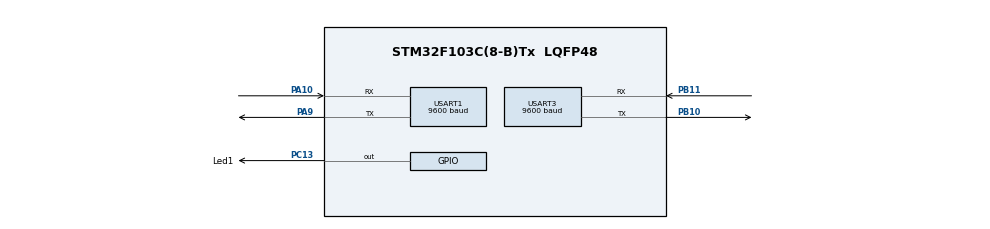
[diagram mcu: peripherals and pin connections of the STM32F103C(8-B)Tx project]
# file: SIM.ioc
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Mcu.Family=STM32F1
Mcu.Name=STM32F103C(8-B)Tx
Mcu.Package=LQFP48
NVIC.PriorityGroup=NVIC_PRIORITYGROUP_4
NVIC.USART1_IRQn=true\:0\:0\:false\:false\:true\:true
NVIC.USART3_IRQn=true\:0\:0\:false\:false\:true\:true
PA10.Mode=Asynchronous
PA10.Signal=USART1_RX
PA13.Mode=Serial_Wire
PA13.Signal=SYS_JTMS-SWDIO
PA14.Mode=Serial_Wire
PA14.Signal=SYS_JTCK-SWCLK
PA9.Mode=Asynchronous
PA9.Signal=USART1_TX
PB10.Mode=Asynchronous
PB10.Signal=USART3_TX
PB11.Mode=Asynchronous
PB11.Signal=USART3_RX
PC13-TAMPER-RTC.GPIO_Label=Led1
PC13-TAMPER-RTC.GPIO_Speed=GPIO_SPEED_FREQ_MEDIUM
PC13-TAMPER-RTC.PinState=GPIO_PIN_SET
PC13-TAMPER-RTC.Signal=GPIO_Output
ProjectManager.HeapSize=0x200
ProjectManager.StackSize=0x400
ProjectManager.TargetToolchain=MDK-ARM V5
RCC.APB1Freq_Value=8000000
RCC.APB2Freq_Value=8000000
USART1.BaudRate=9600
USART1.VirtualMode=VM_ASYNC
USART3.BaudRate=9600
USART3.VirtualMode=VM_ASYNC
board=SIM

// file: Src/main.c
#include "main.h"
#include "stm32f1xx_hal.h"
#include <stdio.h>
#include <stdlib.h>
#include <string.h>
/* USER CODE BEGIN Includes */
#include "sim800c.h"
/* USER CODE END Includes */

UART_HandleTypeDef huart1;
UART_HandleTypeDef huart3;

/* USER CODE BEGIN PV */
/* Private variables ---------------------------------------------------------*/
#define true 1
#define false 0
#define bool int
	int i, n=10;
int *a;
/* USER CODE END PV */

void SystemClock_Config(void);
static void MX_GPIO_Init(void);
static void MX_USART1_UART_Init(void);
static void MX_USART3_UART_Init(void);

/* USER CODE BEGIN PFP */
/* Private function prototypes -----------------------------------------------*/

/* USER CODE END PFP */

/* USER CODE BEGIN 0 */

extern struct UARTSim_t UARTSim;
/* USER CODE END 0 */

int main(void)
{
	 // a = (int*)calloc(n, sizeof(int));
  /* MCU Configuration----------------------------------------------------------*/

  /* Reset of all peripherals, Initializes the Flash interface and the Systick. */
  HAL_Init();

  /* Configure the system clock */
  SystemClock_Config();

  /* Initialize all configured peripherals */
  MX_GPIO_Init();
  MX_USART1_UART_Init();
  MX_USART3_UART_Init();
  /* USER CODE BEGIN 2 */
	HAL_UART_Receive_IT(&huart3, (uint8_t*)&UARTSim.Rx_data, 1);
	HAL_Delay(5000);
	 printf("Lan1\r\n");
	 a = (int*)calloc(10, sizeof(int));
	 for(int i = 0; i<10; i++) printf("%d",a[i]);
	 HAL_Delay(5000);
	 free(a);
	 //HAL_Delay(5000);
	//a = NULL;
	HAL_Delay(5000);
	 printf("Lan2\r\n");
	 a = (int*)calloc(10, sizeof(int));
	 for(int i = 0; i<10; i++) printf("%d",a[i]);
	// for(int i = 0; i<10; i++) printf("%d\r\n",a[i]);
//	printf("Bat Dau\r\n");
//	SIM_begin();
//	//SIM_deleteMessage();
//	//SIM_checkAccount();
//			if(SIM_connectGPRS()){
//			printf("Conected\r\n");
//		}
//			else{
//			printf("Fail\r\n");
//			}
//			//HAL_Delay(5000);
////			if(SIM_initHTTP()){
////			SIM_getHTTP("1603.61665xNx10814.32328xE",10,7,18,22,12,59,20,30,40,50,60,90,90);
////			}
////			else{
////			printf("Fail\r\n");
////			}
//		SIM_SendFTP();
//		HAL_Delay(5000);
//			SIM_FinishFTP();
//		if(SIM_disconnectGPRS()){
//			printf("Disconnected\r\n");
//		}
//			else{
//			printf("Fail\r\n");
//			}
  /* USER CODE END 2 */
  /* Infinite loop */
  while (1)
  {
//		 SIM_GetSMS();
//		HAL_Delay(1000);
  }

}

void SystemClock_Config(void)
{

  RCC_OscInitTypeDef RCC_OscInitStruct;
  RCC_ClkInitTypeDef RCC_ClkInitStruct;

    /**Initializes the CPU, AHB and APB busses clocks
    */
  RCC_OscInitStruct.OscillatorType = RCC_OSCILLATORTYPE_HSI;
  RCC_OscInitStruct.HSIState = RCC_HSI_ON;
  RCC_OscInitStruct.HSICalibrationValue = 16;
  RCC_OscInitStruct.PLL.PLLState = RCC_PLL_NONE;
  if (HAL_RCC_OscConfig(&RCC_OscInitStruct) != HAL_OK)
  {
    _Error_Handler(__FILE__, __LINE__);
  }

    /**Initializes the CPU, AHB and APB busses clocks
    */
  RCC_ClkInitStruct.ClockType = RCC_CLOCKTYPE_HCLK|RCC_CLOCKTYPE_SYSCLK
                              |RCC_CLOCKTYPE_PCLK1|RCC_CLOCKTYPE_PCLK2;
  RCC_ClkInitStruct.SYSCLKSource = RCC_SYSCLKSOURCE_HSI;
  RCC_ClkInitStruct.AHBCLKDivider = RCC_SYSCLK_DIV1;
  RCC_ClkInitStruct.APB1CLKDivider = RCC_HCLK_DIV1;
  RCC_ClkInitStruct.APB2CLKDivider = RCC_HCLK_DIV1;

  if (HAL_RCC_ClockConfig(&RCC_ClkInitStruct, FLASH_LATENCY_0) != HAL_OK)
  {
    _Error_Handler(__FILE__, __LINE__);
  }

    /**Configure the Systick interrupt time
    */
  HAL_SYSTICK_Config(HAL_RCC_GetHCLKFreq()/1000);

    /**Configure the Systick
    */
  HAL_SYSTICK_CLKSourceConfig(SYSTICK_CLKSOURCE_HCLK);

  /* SysTick_IRQn interrupt configuration */
  HAL_NVIC_SetPriority(SysTick_IRQn, 0, 0);
}

/* USART1 init function */
static void MX_USART1_UART_Init(void)
{

  huart1.Instance = USART1;
  huart1.Init.BaudRate = 9600;
  huart1.Init.WordLength = UART_WORDLENGTH_8B;
  huart1.Init.StopBits = UART_STOPBITS_1;
  huart1.Init.Parity = UART_PARITY_NONE;
  huart1.Init.Mode = UART_MODE_TX_RX;
  huart1.Init.HwFlowCtl = UART_HWCONTROL_NONE;
  huart1.Init.OverSampling = UART_OVERSAMPLING_16;
  if (HAL_UART_Init(&huart1) != HAL_OK)
  {
    _Error_Handler(__FILE__, __LINE__);
  }

}

/* USART3 init function */
static void MX_USART3_UART_Init(void)
{

  huart3.Instance = USART3;
  huart3.Init.BaudRate = 9600;
  huart3.Init.WordLength = UART_WORDLENGTH_8B;
  huart3.Init.StopBits = UART_STOPBITS_1;
  huart3.Init.Parity = UART_PARITY_NONE;
  huart3.Init.Mode = UART_MODE_TX_RX;
  huart3.Init.HwFlowCtl = UART_HWCONTROL_NONE;
  huart3.Init.OverSampling = UART_OVERSAMPLING_16;
  if (HAL_UART_Init(&huart3) != HAL_OK)
  {
    _Error_Handler(__FILE__, __LINE__);
  }

}

/** Configure pins as
        * Analog
        * Input
        * Output
        * EVENT_OUT
        * EXTI
*/
static void MX_GPIO_Init(void)
{

  GPIO_InitTypeDef GPIO_InitStruct;

  /* GPIO Ports Clock Enable */
  __HAL_RCC_GPIOC_CLK_ENABLE();
  __HAL_RCC_GPIOB_CLK_ENABLE();
  __HAL_RCC_GPIOA_CLK_ENABLE();

  /*Configure GPIO pin Output Level */
  HAL_GPIO_WritePin(Led1_GPIO_Port, Led1_Pin, GPIO_PIN_SET);

  /*Configure GPIO pin : Led1_Pin */
  GPIO_InitStruct.Pin = Led1_Pin;
  GPIO_InitStruct.Mode = GPIO_MODE_OUTPUT_PP;
  GPIO_InitStruct.Speed = GPIO_SPEED_FREQ_MEDIUM;
  HAL_GPIO_Init(Led1_GPIO_Port, &GPIO_InitStruct);

}

/* USER CODE BEGIN 4 */
#ifdef __GNUC__
  #define PUTCHAR_PROTOTYPE int __io_putchar(int ch)
#else
  #define PUTCHAR_PROTOTYPE int fputc(int ch, FILE *f)
#endif

PUTCHAR_PROTOTYPE
{
    HAL_UART_Transmit(&huart1, (uint8_t *)&ch, 1, 100);
    return ch;
}
/* USER CODE END 4 */

void _Error_Handler(char *file, int line)
{
  while(1)
  {
  }
}

/************************ (C) COPYRIGHT STMicroelectronics *****END OF FILE****/
